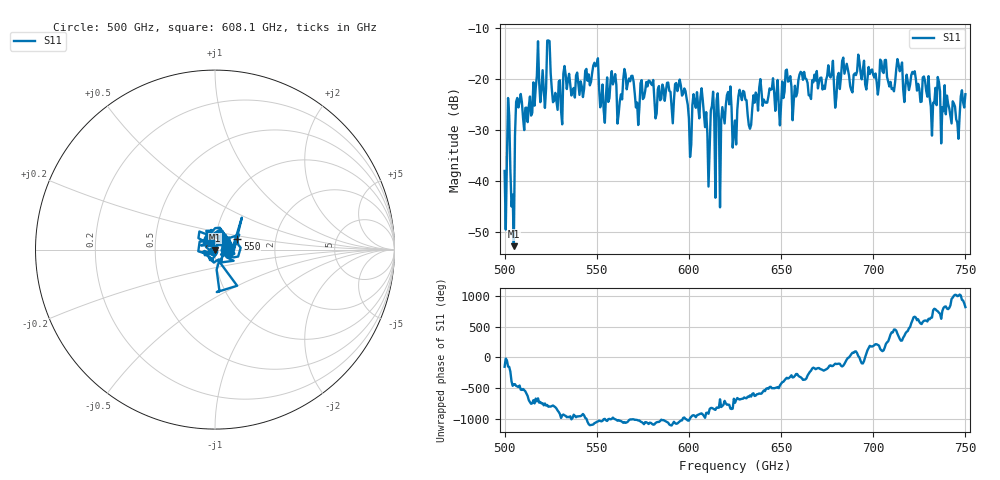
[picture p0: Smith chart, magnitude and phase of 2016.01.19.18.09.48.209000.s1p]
!Created with skrf (http://scikit-rf.org).
# GHz S RI R 50.0
!freq ReS11 ImS11
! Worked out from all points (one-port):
!   401 points, 500 GHz to 750 GHz, reference 50 ohm
!   lowest |S11| = -52.8 dB at 505 GHz (marker M1), VSWR 1.00, Z = 50 - j0.226 ohm
!   |S11| at or under -10 dB: start of sweep to end of sweep
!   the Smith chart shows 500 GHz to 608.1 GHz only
!   S11 on the Smith chart (normalised r, x): 500 GHz: 0.98, -0.01; 550 GHz: 1.27, +0.16; 608.1 GHz: 0.95, +0.07
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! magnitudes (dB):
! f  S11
! 500 GHz  -38.1
! 502.5 GHz  -27.2
! 505 GHz  -52.8
! 507.5 GHz  -25.6
! 513.8 GHz  -23.5
! 523.8 GHz  -12.5
! 527.5 GHz  -22.8
! 531.2 GHz  -28.9
! 550 GHz  -17.2
! 553.1 GHz  -21.1
! 558.8 GHz  -21.1
! 562.5 GHz  -24.4
! 565.6 GHz  -19.1
! 571.9 GHz  -24.7
! 593.8 GHz  -22.4
! 600.6 GHz  -35.3
! 608.1 GHz  -26.9
! 610 GHz  -30.7
! 612.5 GHz  -25.3
! 618.1 GHz  -25.6
! 621.2 GHz  -22.6
! 625 GHz  -28.2
! 628.8 GHz  -24.2
! 633.1 GHz  -29.8
! 656.2 GHz  -28.1
! 687.5 GHz  -21.5
! 718.8 GHz  -20.6
! 750 GHz  -23.0
